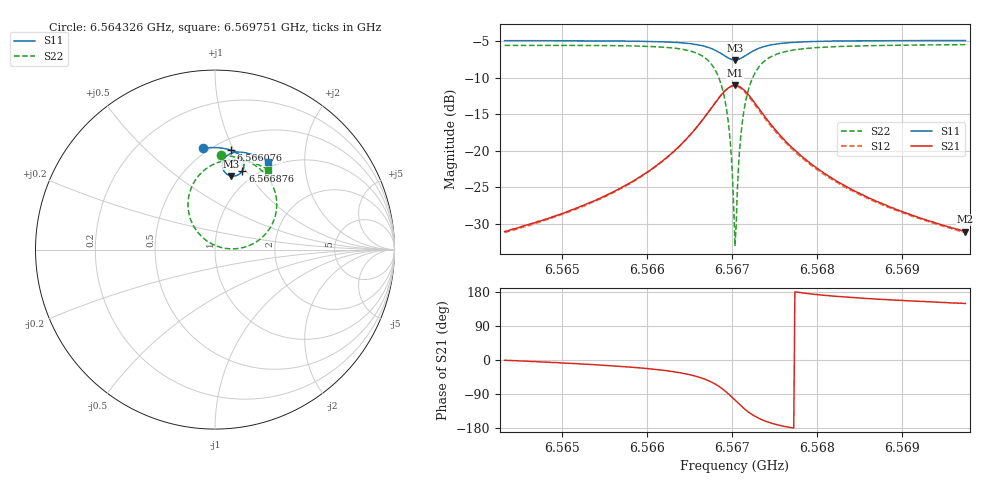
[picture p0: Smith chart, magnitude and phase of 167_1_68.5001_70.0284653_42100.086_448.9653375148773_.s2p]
#  HZ  S  RI  R  50.00
! Rohde & Schwarz Vector Network Analyzer
! Rohde-Schwarz,ZNB20-2Port,1311601062101988,3.16
! Created: UTC 3/20/2024, 4:56:02 PM
! freq[Hz]  re:S11  im:S11  re:S21  im:S21  re:S12  im:S12  re:S22  im:S22
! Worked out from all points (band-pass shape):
!   401 points, 6.564326 GHz to 6.569751 GHz, reference 50 ohm
!   highest |S21| = -11.02 dB at 6.567039 GHz (marker M1); lowest = -31.0 dB at 6.569751 GHz (marker M2)
!   |S21| within 3 dB of the highest: 6.566767 GHz to 6.567309 GHz (542.5 kHz wide, 0.00826 % of centre)
!   lowest |S11| = -7.5 dB at 6.567039 GHz (marker M3), VSWR 2.45, Z = 41.1 + j41 ohm
!   |S11| at or under -10 dB: nowhere
!   |S22| runs from -33.0 to -5.4 dB; largest |S21 - S12| = 0.013
!   S11 on the Smith chart (normalised r, x): 6.564326 GHz: 0.46, +0.78; 6.566076 GHz: 0.60, +0.97; 6.566876 GHz: 0.86, +0.96; 6.569751 GHz: 0.91, +1.32
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6.5643259e9  -0.0648 0.5656  0.0281 -0.000426  0.0276 -0.000779  0.0361 0.5268
6.5652347e9  0.00972 0.568  0.0413 -0.0076  0.0406 -0.00817  0.1226 0.5134
6.5660756e9  0.0882 0.5545  0.0697 -0.0313  0.0688 -0.0321  0.2323 0.4632
6.5661434e9  0.0955 0.5519  0.0736 -0.0357  0.0725 -0.0365  0.2441 0.4546
6.5664418e9  0.1298 0.5326  0.0947 -0.0682  0.0932 -0.0696  0.3029 0.3901
6.5666588e9  0.155 0.5013  0.1084 -0.1228  0.1059 -0.1253  0.342 0.2846
6.5667809e9  0.1616 0.4701  0.1008 -0.1777  0.0963 -0.1811  0.3333 0.1796
6.5668758e9  0.1524 0.4386  0.0675 -0.2317  0.0598 -0.2347  0.2737 0.0785
6.5669572e9  0.1266 0.4152  0.00646 -0.2692  -0.00475 -0.2692  0.1611 0.0124
6.5669843e9  0.1144 0.4109  -0.0202 -0.2748  -0.0321 -0.2731  0.1127 0.00421
6.567025e9  0.0943 0.4096  -0.0628 -0.2735  -0.0748 -0.2686  0.0369 0.0112
6.5670386e9  0.0877 0.4108  -0.0771 -0.2703  -0.0886 -0.2642  0.0122 0.0187
6.5670522e9  0.0811 0.4125  -0.0908 -0.2655  -0.1018 -0.2585  -0.0114 0.0287
6.5670657e9  0.0748 0.4152  -0.1037 -0.2595  -0.1144 -0.2515  -0.0336 0.041
6.5670929e9  0.0635 0.4222  -0.1275 -0.2442  -0.1367 -0.2345  -0.073 0.0714
6.5671335e9  0.0506 0.4365  -0.1553 -0.215  -0.1617 -0.2038  -0.1167 0.1264
6.5671878e9  0.0417 0.4581  -0.1764 -0.1718  -0.1791 -0.1606  -0.146 0.2045
6.5672556e9  0.0419 0.4834  -0.182 -0.1225  -0.1817 -0.1126  -0.1471 0.291
6.5674997e9  0.0791 0.5311  -0.1399 -0.0277  -0.1368 -0.0236  -0.0503 0.45
6.5679473e9  0.1419 0.5431  -0.0802 0.00858  -0.0782 0.00975  0.086 0.5004
6.5688561e9  0.2265 0.5225  -0.0386 0.0151  -0.0379 0.0153  0.2163 0.4824
6.5697512e9  0.2927 0.4904  -0.0241 0.0144  -0.0236 0.0145  0.2947 0.4459
